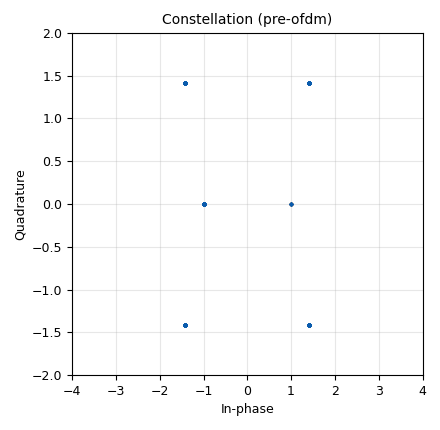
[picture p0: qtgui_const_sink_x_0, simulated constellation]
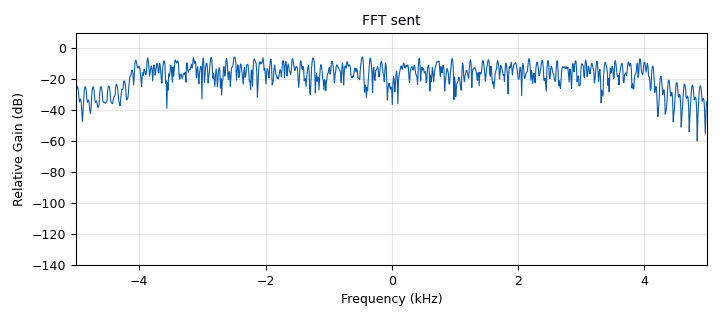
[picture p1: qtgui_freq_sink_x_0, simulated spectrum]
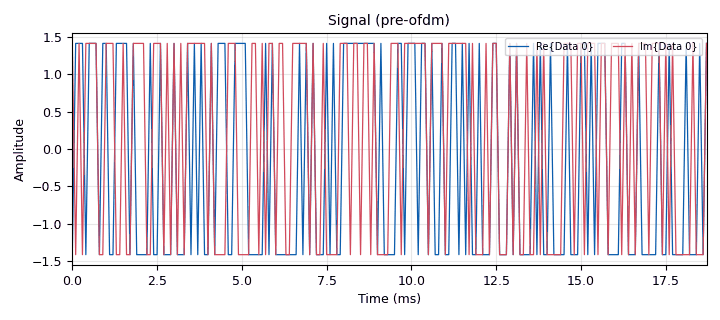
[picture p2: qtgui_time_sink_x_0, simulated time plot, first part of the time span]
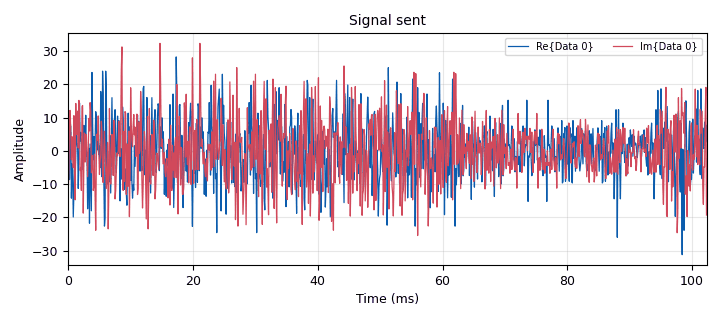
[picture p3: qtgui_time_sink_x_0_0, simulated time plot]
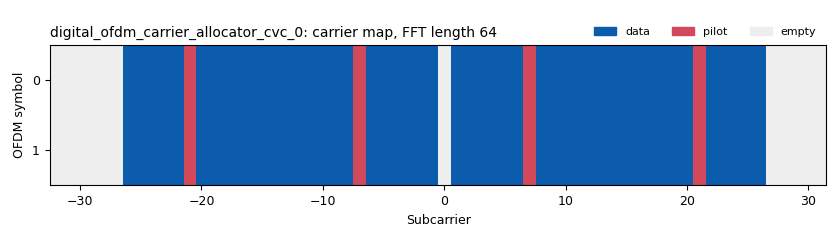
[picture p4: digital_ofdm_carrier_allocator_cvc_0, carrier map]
options:
  parameters:
    author: Quentin Prieels
    comment: https://github.com/Agrim9/Video-TX-via-USRP-OFDM-and-GNURadio/tree/master
    description: OFDM Communication & radar reciever
    generate_options: qt_gui
    id: transmitter
    output_language: python
    title: Transmitter
  states: {}

blocks:
- name: fft_len
  id: variable
  parameters:
    value: '64'
  states: {}
- name: header_format
  id: variable
  parameters:
    value: digital.header_format_ofdm(occupied_carriers, 1, packet_length_tag_key,)
  states: {}
- name: header_mod
  id: variable
  parameters:
    value: digital.constellation_bpsk()
  states: {}
- name: mult
  id: variable
  parameters:
    value: '0.5'
  states: {}
- name: occupied_carriers
  id: variable
  parameters:
    value: (list(range(-26, -21)) + list(range(-20, -7)) + list(range(-6, 0)) + list(range(1, 7)) + list(range(8, 21)) + list(range(22, 27)),)
  states: {}
- name: packet_len
  id: variable
  parameters:
    value: '96'
  states: {}
- name: packet_length_tag_key
  id: variable
  parameters:
    value: '"packet_len"'
  states: {}
- name: payload_mod
  id: variable
  parameters:
    value: digital.constellation_qpsk()
  states: {}
- name: pilot_carriers
  id: variable
  parameters:
    value: ((-21, -7, 7, 21,),)
  states: {}
- name: pilot_symbols
  id: variable
  parameters:
    value: ((1, 1, 1, -1,),)
  states: {}
- name: samp_rate
  id: variable
  parameters:
    value: 10e3
  states: {}
- name: sync_word1
  id: variable
  parameters:
    value: '[0., 0., 0., 0., 0., 0., 0., 1.41421356, 0., -1.41421356, 0., 1.41421356, 0., -1.41421356, 0., -1.41421356, 0., -1.41421356, 0., 1.41421356, 0., -1.41421356, 0., 1.41421356, 0., -1.41421356, 0., -1.41421356, 0., -1.41421356, 0., -1.41421356, 0., 1.41421356, 0., -1.41421356, 0., 1.41421356, 0., 1.41421356, 0., 1.41421356, 0., -1.41421356, 0., 1.41421356, 0., 1.41421356, 0., 1.41421356, 0., -1.41421356, 0., 1.41421356, 0., 1.41421356, 0., 1.41421356, 0., 0., 0., 0., 0., 0.]'
  states: {}
- name: sync_word2
  id: variable
  parameters:
    value: '[0j, 0j, 0j, 0j, 0j, 0j, (-1+0j), (-1+0j), (-1+0j), (-1+0j), (1+0j), (1+0j), (-1+0j), (-1+0j), (-1+0j), (1+0j), (-1+0j), (1+0j), (1+0j), (1 +0j), (1+0j), (1+0j), (-1+0j), (-1+0j), (-1+0j), (-1+0j), (-1+0j), (1+0j), (-1+0j), (-1+0j), (1+0j), (-1+0j), 0j, (1+0j), (-1+0j), (1+0j), (1+0j), (1+0j), (-1+0j), (1+0j), (1+0j), (1+0j), (-1+0j), (1+0j), (1+0j), (1+0j), (1+0j), (-1+0j), (1+0j), (-1+0j), (-1+0j), (-1+0j), (1+0j), (-1+0j), (1+0j), (-1+0j), (-1+0j), (-1+0j), (-1+0j), 0j, 0j, 0j, 0j, 0j]'
  states: {}
- name: usrp_center_freq
  id: variable
  parameters:
    value: 200e6
  states: {}
- name: usrp_gain
  id: variable_qtgui_range
  parameters:
    label: Gain USRP [dB]
    start: '0'
    step: '1'
    stop: '50'
    value: '30'
  states: {}
- name: analog_random_source_x_0
  id: analog_random_source_x
  parameters:
    max: '255'
    min: '0'
    num_samps: '1000'
    repeat: 'True'
    type: byte
  states: {}
- name: blocks_file_source_0
  id: blocks_file_source
  parameters:
    file: /home/quentin/Documents/Cours/linfo2990/TFE25-462/flowcharts/two_bytes_ones.bin
    length: packet_len
    repeat: 'False'
    type: byte
  states: {state: disabled}
- name: blocks_multiply_const_vxx_0
  id: blocks_multiply_const_vxx
  parameters:
    const: mult
    type: complex
  states: {state: bypassed}
- name: blocks_multiply_const_vxx_0_0
  id: blocks_multiply_const_vxx
  parameters:
    comment: Normalize QPSK constellation
    const: '0.5'
    type: complex
  states: {state: bypassed}
- name: blocks_repack_bits_bb_0
  id: blocks_repack_bits_bb
  parameters:
    endianness: gr.GR_LSB_FIRST
    k: '8'
    l: payload_mod.bits_per_symbol()
    len_tag_key: packet_length_tag_key
  states: {}
- name: blocks_repack_bits_bb_0_0
  id: blocks_repack_bits_bb
  parameters:
    endianness: gr.GR_LSB_FIRST
    k: '8'
    l: header_mod.bits_per_symbol()
    len_tag_key: packet_length_tag_key
  states: {}
- name: blocks_stream_to_tagged_stream_0
  id: blocks_stream_to_tagged_stream
  parameters:
    len_tag_key: packet_length_tag_key
    packet_len: packet_len
    type: byte
  states: {}
- name: blocks_tag_debug_0
  id: blocks_tag_debug
  parameters:
    type: byte
  states: {}
- name: blocks_tag_gate_0
  id: blocks_tag_gate
  parameters:
    propagate_tags: 'False'
    type: complex
  states: {}
- name: blocks_tagged_stream_mux_0
  id: blocks_tagged_stream_mux
  parameters:
    lengthtagname: packet_length_tag_key
    ninputs: '2'
    tag_preserve_head_pos: '3'
    type: complex
  states: {}
- name: blocks_throttle2_0
  id: blocks_throttle2
  parameters:
    samples_per_second: samp_rate
    type: complex
  states: {}
- name: channels_channel_model_0
  id: channels_channel_model
  parameters:
    block_tags: 'True'
    epsilon: '1.0'
    freq_offset: 0 * 1.0/fft_len
    noise_voltage: '0.1'
    seed: '0'
    taps: '1.0'
  states: {}
- name: digital_chunks_to_symbols_xx_0
  id: digital_chunks_to_symbols_xx
  parameters:
    dimension: '1'
    in_type: byte
    out_type: complex
    symbol_table: header_mod.points()
  states: {}
- name: digital_chunks_to_symbols_xx_0_0
  id: digital_chunks_to_symbols_xx
  parameters:
    dimension: '1'
    in_type: byte
    out_type: complex
    symbol_table: payload_mod.points()
  states: {}
- name: digital_crc32_bb_0
  id: digital_crc32_bb
  parameters:
    check: 'False'
    lengthtagname: packet_length_tag_key
    packed: 'True'
  states: {}
- name: digital_ofdm_carrier_allocator_cvc_0
  id: digital_ofdm_carrier_allocator_cvc
  parameters:
    fft_len: fft_len
    len_tag_key: packet_length_tag_key
    occupied_carriers: occupied_carriers
    output_is_shifted: 'True'
    pilot_carriers: pilot_carriers
    pilot_symbols: pilot_symbols
    sync_words: (sync_word1, sync_word2)
  states: {}
- name: digital_ofdm_cyclic_prefixer_0
  id: digital_ofdm_cyclic_prefixer
  parameters:
    cp_len: fft_len // 4
    input_size: fft_len
    tagname: '""'
  states: {}
- name: digital_ofdm_rx_0
  id: digital_ofdm_rx
  parameters:
    cp_len: '16'
    fft_len: '64'
    header_mod: '"BPSK"'
    occupied_carriers: occupied_carriers
    packet_len_key: '"length"'
    payload_mod: '"QPSK"'
    pilot_carriers: pilot_carriers
    pilot_symbols: pilot_symbols
    sync_word1: sync_word1
    sync_word2: sync_word2
  states: {}
- name: digital_protocol_formatter_bb_0
  id: digital_protocol_formatter_bb
  parameters:
    format: header_format
    len_tag_key: packet_length_tag_key
  states: {}
- name: fft_vxx_1
  id: fft_vxx
  parameters:
    fft_size: fft_len
    forward: 'False'
    shift: 'True'
    type: complex
    window: ()
  states: {}
- name: note_0
  id: note
  parameters:
    note: Packet creation
  states: {}
- name: note_0_0
  id: note
  parameters:
    note: OFDM Modulation
  states: {}
- name: note_0_0_0
  id: note
  parameters:
    note: USRP Sending
  states: {}
- name: qtgui_const_sink_x_0
  id: qtgui_const_sink_x
  parameters:
    grid: 'True'
    name: Constellation (pre-ofdm)
    size: '1024'
    type: complex
    xmax: '4'
    xmin: '-4'
  states: {}
- name: qtgui_freq_sink_x_0
  id: qtgui_freq_sink_x
  parameters:
    bw: samp_rate
    fc: '0'
    fftsize: '1024'
    name: FFT sent
    type: complex
  states: {}
- name: qtgui_time_sink_x_0
  id: qtgui_time_sink_x
  parameters:
    autoscale: 'True'
    name: Signal (pre-ofdm)
    size: '1024'
    srate: samp_rate
    type: complex
  states: {}
- name: qtgui_time_sink_x_0_0
  id: qtgui_time_sink_x
  parameters:
    autoscale: 'True'
    name: Signal sent
    size: '1024'
    srate: samp_rate
    type: complex
  states: {}
- name: uhd_usrp_sink_0
  id: uhd_usrp_sink
  parameters:
    ant0: '"TX/RX"'
    center_freq0: usrp_center_freq
    gain0: usrp_gain
    samp_rate: samp_rate
    sync: sync
    type: fc32
  states: {state: disabled}
- name: virtual_sink_0
  id: virtual_sink
  parameters:
    stream_id: packet_data
  states: {}
- name: virtual_sink_1
  id: virtual_sink
  parameters:
    stream_id: packet_header
  states: {}
- name: virtual_sink_2
  id: virtual_sink
  parameters:
    stream_id: time_domain
  states: {}
- name: virtual_source_0
  id: virtual_source
  parameters:
    stream_id: packet_header
  states: {}
- name: virtual_source_1
  id: virtual_source
  parameters:
    stream_id: packet_data
  states: {}
- name: virtual_source_2
  id: virtual_source
  parameters:
    stream_id: time_domain
  states: {}

connections:
- [analog_random_source_x_0, '0', blocks_stream_to_tagged_stream_0, '0']
- [blocks_file_source_0, '0', blocks_stream_to_tagged_stream_0, '0']
- [blocks_multiply_const_vxx_0, '0', virtual_sink_2, '0']
- [blocks_multiply_const_vxx_0_0, '0', virtual_sink_0, '0']
- [blocks_repack_bits_bb_0, '0', digital_chunks_to_symbols_xx_0_0, '0']
- [blocks_repack_bits_bb_0_0, '0', digital_chunks_to_symbols_xx_0, '0']
- [blocks_stream_to_tagged_stream_0, '0', digital_crc32_bb_0, '0']
- [blocks_tag_gate_0, '0', blocks_multiply_const_vxx_0, '0']
- [blocks_tagged_stream_mux_0, '0', digital_ofdm_carrier_allocator_cvc_0, '0']
- [blocks_tagged_stream_mux_0, '0', qtgui_const_sink_x_0, '0']
- [blocks_tagged_stream_mux_0, '0', qtgui_time_sink_x_0, '0']
- [blocks_throttle2_0, '0', channels_channel_model_0, '0']
- [blocks_throttle2_0, '0', qtgui_freq_sink_x_0, '0']
- [blocks_throttle2_0, '0', qtgui_time_sink_x_0_0, '0']
- [blocks_throttle2_0, '0', uhd_usrp_sink_0, '0']
- [channels_channel_model_0, '0', digital_ofdm_rx_0, '0']
- [digital_chunks_to_symbols_xx_0, '0', virtual_sink_1, '0']
- [digital_chunks_to_symbols_xx_0_0, '0', blocks_multiply_const_vxx_0_0, '0']
- [digital_crc32_bb_0, '0', blocks_repack_bits_bb_0, '0']
- [digital_crc32_bb_0, '0', digital_protocol_formatter_bb_0, '0']
- [digital_ofdm_carrier_allocator_cvc_0, '0', fft_vxx_1, '0']
- [digital_ofdm_cyclic_prefixer_0, '0', blocks_tag_gate_0, '0']
- [digital_ofdm_rx_0, '0', blocks_tag_debug_0, '0']
- [digital_protocol_formatter_bb_0, '0', blocks_repack_bits_bb_0_0, '0']
- [fft_vxx_1, '0', digital_ofdm_cyclic_prefixer_0, '0']
- [virtual_source_0, '0', blocks_tagged_stream_mux_0, '0']
- [virtual_source_1, '0', blocks_tagged_stream_mux_0, '1']
- [virtual_source_2, '0', blocks_throttle2_0, '0']

metadata:
  file_format: 1
  grc_version: 3.10.11.0
